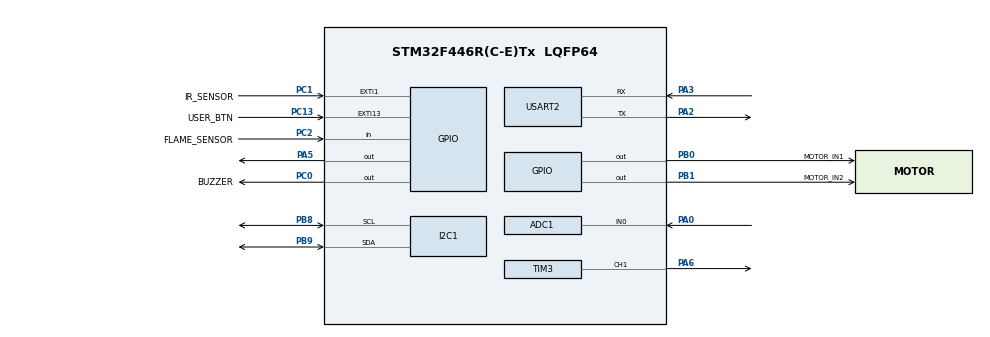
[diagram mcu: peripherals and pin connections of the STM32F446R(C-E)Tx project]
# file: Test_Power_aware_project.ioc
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ADC1.Channel-0\#ChannelRegularConversion=ADC_CHANNEL_0
ADC1.NbrOfConversionFlag=1
ADC1.Rank-0\#ChannelRegularConversion=1
ADC1.SamplingTime-0\#ChannelRegularConversion=ADC_SAMPLETIME_3CYCLES
ADC1.master=1
FREERTOS.Tasks01=defaultTask,24,128,StartDefaultTask,Default,NULL,Dynamic,NULL,NULL
FREERTOS.configUSE_NEWLIB_REENTRANT=1
Mcu.Family=STM32F4
Mcu.Name=STM32F446R(C-E)Tx
Mcu.Package=LQFP64
NVIC.EXTI15_10_IRQn=true\:5\:0\:false\:false\:true\:true\:true\:true\:true
NVIC.EXTI1_IRQn=true\:5\:0\:false\:false\:true\:true\:true\:true\:true
NVIC.PriorityGroup=NVIC_PRIORITYGROUP_4
NVIC.TIM1_UP_TIM10_IRQn=true\:15\:0\:false\:false\:true\:false\:false\:true\:true
NVIC.TimeBase=TIM1_UP_TIM10_IRQn
NVIC.TimeBaseIP=TIM10
PA0-WKUP.Signal=ADCx_IN0
PA13.Mode=Serial_Wire
PA13.Signal=SYS_JTMS-SWDIO
PA14.Mode=Serial_Wire
PA14.Signal=SYS_JTCK-SWCLK
PA2.Mode=Asynchronous
PA2.Signal=USART2_TX
PA3.Mode=Asynchronous
PA3.Signal=USART2_RX
PA5.Signal=GPIO_Output
PA6.Signal=S_TIM3_CH1
PB0.GPIO_Label=MOTOR_IN1
PB0.Signal=GPIO_Output
PB1.GPIO_Label=MOTOR_IN2
PB1.Signal=GPIO_Output
PB8.Mode=I2C
PB8.Signal=I2C1_SCL
PB9.Mode=I2C
PB9.Signal=I2C1_SDA
PC0.GPIO_Label=BUZZER
PC0.Signal=GPIO_Output
PC1.GPIO_Label=IR_SENSOR
PC1.GPIO_PuPd=GPIO_PULLUP
PC1.Signal=GPXTI1
PC13.GPIO_Label=USER_BTN
PC13.Signal=GPXTI13
PC2.GPIO_Label=FLAME_SENSOR
PC2.GPIO_PuPd=GPIO_PULLUP
PC2.Signal=GPIO_Input
ProjectManager.HeapSize=0x200
ProjectManager.StackSize=0x400
ProjectManager.TargetToolchain=STM32CubeIDE
RCC.CortexFreq_Value=16000000
RCC.USBFreq_Value=96000000
RCC.VCOOutputFreq_Value=192000000
SH.ADCx_IN0.0=ADC1_IN0,IN0
SH.S_TIM3_CH1.0=TIM3_CH1,PWM Generation1 CH1
TIM3.AutoReloadPreload=TIM_AUTORELOAD_PRELOAD_ENABLE
TIM3.Channel-PWM\ Generation1\ CH1=TIM_CHANNEL_1
TIM3.Period=99
TIM3.Prescaler=83
USART2.VirtualMode=VM_ASYNC
VP_FREERTOS_VS_CMSIS_V2.Mode=CMSIS_V2
VP_SYS_VS_tim10.Mode=TIM10
VP_TIM3_VS_ClockSourceINT.Mode=Internal
board=custom

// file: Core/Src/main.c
/* USER CODE BEGIN Header */
/**
  ******************************************************************************
  * @file           : main.c
  * @brief          : Power-Aware Motor Safety Controller — FreeRTOS
  *                   Capstone-2 Assignment | STM32F446RE
  ******************************************************************************
  */
/* USER CODE END Header */
#include "main.h"
#include "cmsis_os.h"

/* USER CODE BEGIN Includes */
#include "system_config.h"
/* USER CODE END Includes */

ADC_HandleTypeDef hadc1;

I2C_HandleTypeDef hi2c1;

TIM_HandleTypeDef htim3;

UART_HandleTypeDef huart2;

/* Definitions for defaultTask */
osThreadId_t defaultTaskHandle;
const osThreadAttr_t defaultTask_attributes = {
  .name = "defaultTask",
  .stack_size = 128 * 4,
  .priority = (osPriority_t) osPriorityNormal,
};

void SystemClock_Config(void);
static void MX_GPIO_Init(void);
static void MX_ADC1_Init(void);
static void MX_I2C1_Init(void);
static void MX_TIM3_Init(void);
static void MX_USART2_UART_Init(void);
void StartDefaultTask(void *argument);

/* USER CODE BEGIN PFP */
extern void MX_FREERTOS_Init(void);
/* USER CODE END PFP */

int main(void)
{

  /* MCU Configuration--------------------------------------------------------*/

  /* Reset of all peripherals, Initializes the Flash interface and the Systick. */
  HAL_Init();

  /* Configure the system clock */
  SystemClock_Config();

  /* Initialize all configured peripherals */
  MX_GPIO_Init();
  MX_ADC1_Init();
  MX_I2C1_Init();
  MX_TIM3_Init();
  MX_USART2_UART_Init();
  /* USER CODE BEGIN 2 */

  /* All initialization is now handled by RTOS tasks:
   *   - Motor init      → MotorControlTask
   *   - INA219 init     → PowerMonitorTask
   *   - OLED init       → DisplayTask
   *   - Safety init     → SafetySupervisorTask
   *   - Power mgr init  → PowerManagerTask
   *   - Temp IIR seed   → TemperatureTask
   */

  /* USER CODE END 2 */

  /* Init scheduler */
  osKernelInitialize();

  /* Create the thread(s) */
  /* creation of defaultTask */
  defaultTaskHandle = osThreadNew(StartDefaultTask, NULL, &defaultTask_attributes);

  /* USER CODE BEGIN RTOS_THREADS */
  /* Initialize our 7 RTOS tasks + mutex */
  MX_FREERTOS_Init();
  /* USER CODE END RTOS_THREADS */

  /* Start scheduler */
  osKernelStart();

  /* We should never get here as control is now taken by the scheduler */

  /* Infinite loop */
  while (1)
  {

    /* USER CODE BEGIN 3 */
    /* Never reaches here — RTOS scheduler is running */
  }
  /* USER CODE END 3 */
}

void SystemClock_Config(void)
{
  RCC_OscInitTypeDef RCC_OscInitStruct = {0};
  RCC_ClkInitTypeDef RCC_ClkInitStruct = {0};

  /** Configure the main internal regulator output voltage
  */
  __HAL_RCC_PWR_CLK_ENABLE();
  __HAL_PWR_VOLTAGESCALING_CONFIG(PWR_REGULATOR_VOLTAGE_SCALE3);

  /** Initializes the RCC Oscillators according to the specified parameters
  * in the RCC_OscInitTypeDef structure.
  */
  RCC_OscInitStruct.OscillatorType = RCC_OSCILLATORTYPE_HSI;
  RCC_OscInitStruct.HSIState = RCC_HSI_ON;
  RCC_OscInitStruct.HSICalibrationValue = RCC_HSICALIBRATION_DEFAULT;
  RCC_OscInitStruct.PLL.PLLState = RCC_PLL_NONE;
  if (HAL_RCC_OscConfig(&RCC_OscInitStruct) != HAL_OK)
  {
    Error_Handler();
  }

  /** Initializes the CPU, AHB and APB buses clocks
  */
  RCC_ClkInitStruct.ClockType = RCC_CLOCKTYPE_HCLK|RCC_CLOCKTYPE_SYSCLK
                              |RCC_CLOCKTYPE_PCLK1|RCC_CLOCKTYPE_PCLK2;
  RCC_ClkInitStruct.SYSCLKSource = RCC_SYSCLKSOURCE_HSI;
  RCC_ClkInitStruct.AHBCLKDivider = RCC_SYSCLK_DIV1;
  RCC_ClkInitStruct.APB1CLKDivider = RCC_HCLK_DIV1;
  RCC_ClkInitStruct.APB2CLKDivider = RCC_HCLK_DIV1;

  if (HAL_RCC_ClockConfig(&RCC_ClkInitStruct, FLASH_LATENCY_0) != HAL_OK)
  {
    Error_Handler();
  }
}

static void MX_ADC1_Init(void)
{

  ADC_ChannelConfTypeDef sConfig = {0};

  /** Configure the global features of the ADC (Clock, Resolution, Data Alignment and number of conversion)
  */
  hadc1.Instance = ADC1;
  hadc1.Init.ClockPrescaler = ADC_CLOCK_SYNC_PCLK_DIV2;
  hadc1.Init.Resolution = ADC_RESOLUTION_12B;
  hadc1.Init.ScanConvMode = DISABLE;
  hadc1.Init.ContinuousConvMode = DISABLE;
  hadc1.Init.DiscontinuousConvMode = DISABLE;
  hadc1.Init.ExternalTrigConvEdge = ADC_EXTERNALTRIGCONVEDGE_NONE;
  hadc1.Init.ExternalTrigConv = ADC_SOFTWARE_START;
  hadc1.Init.DataAlign = ADC_DATAALIGN_RIGHT;
  hadc1.Init.NbrOfConversion = 1;
  hadc1.Init.DMAContinuousRequests = DISABLE;
  hadc1.Init.EOCSelection = ADC_EOC_SINGLE_CONV;
  if (HAL_ADC_Init(&hadc1) != HAL_OK)
  {
    Error_Handler();
  }

  /** Configure for the selected ADC regular channel its corresponding rank in the sequencer and its sample time.
  */
  sConfig.Channel = ADC_CHANNEL_0;
  sConfig.Rank = 1;
  sConfig.SamplingTime = ADC_SAMPLETIME_3CYCLES;
  if (HAL_ADC_ConfigChannel(&hadc1, &sConfig) != HAL_OK)
  {
    Error_Handler();
  }

}

static void MX_I2C1_Init(void)
{

  hi2c1.Instance = I2C1;
  hi2c1.Init.ClockSpeed = 100000;
  hi2c1.Init.DutyCycle = I2C_DUTYCYCLE_2;
  hi2c1.Init.OwnAddress1 = 0;
  hi2c1.Init.AddressingMode = I2C_ADDRESSINGMODE_7BIT;
  hi2c1.Init.DualAddressMode = I2C_DUALADDRESS_DISABLE;
  hi2c1.Init.OwnAddress2 = 0;
  hi2c1.Init.GeneralCallMode = I2C_GENERALCALL_DISABLE;
  hi2c1.Init.NoStretchMode = I2C_NOSTRETCH_DISABLE;
  if (HAL_I2C_Init(&hi2c1) != HAL_OK)
  {
    Error_Handler();
  }

}

static void MX_TIM3_Init(void)
{

  TIM_ClockConfigTypeDef sClockSourceConfig = {0};
  TIM_MasterConfigTypeDef sMasterConfig = {0};
  TIM_OC_InitTypeDef sConfigOC = {0};

  htim3.Instance = TIM3;
  htim3.Init.Prescaler = 83;
  htim3.Init.CounterMode = TIM_COUNTERMODE_UP;
  htim3.Init.Period = 99;
  htim3.Init.ClockDivision = TIM_CLOCKDIVISION_DIV1;
  htim3.Init.AutoReloadPreload = TIM_AUTORELOAD_PRELOAD_ENABLE;
  if (HAL_TIM_Base_Init(&htim3) != HAL_OK)
  {
    Error_Handler();
  }
  sClockSourceConfig.ClockSource = TIM_CLOCKSOURCE_INTERNAL;
  if (HAL_TIM_ConfigClockSource(&htim3, &sClockSourceConfig) != HAL_OK)
  {
    Error_Handler();
  }
  if (HAL_TIM_PWM_Init(&htim3) != HAL_OK)
  {
    Error_Handler();
  }
  sMasterConfig.MasterOutputTrigger = TIM_TRGO_RESET;
  sMasterConfig.MasterSlaveMode = TIM_MASTERSLAVEMODE_DISABLE;
  if (HAL_TIMEx_MasterConfigSynchronization(&htim3, &sMasterConfig) != HAL_OK)
  {
    Error_Handler();
  }
  sConfigOC.OCMode = TIM_OCMODE_PWM1;
  sConfigOC.Pulse = 0;
  sConfigOC.OCPolarity = TIM_OCPOLARITY_HIGH;
  sConfigOC.OCFastMode = TIM_OCFAST_DISABLE;
  if (HAL_TIM_PWM_ConfigChannel(&htim3, &sConfigOC, TIM_CHANNEL_1) != HAL_OK)
  {
    Error_Handler();
  }
  HAL_TIM_MspPostInit(&htim3);

}

static void MX_USART2_UART_Init(void)
{

  huart2.Instance = USART2;
  huart2.Init.BaudRate = 115200;
  huart2.Init.WordLength = UART_WORDLENGTH_8B;
  huart2.Init.StopBits = UART_STOPBITS_1;
  huart2.Init.Parity = UART_PARITY_NONE;
  huart2.Init.Mode = UART_MODE_TX_RX;
  huart2.Init.HwFlowCtl = UART_HWCONTROL_NONE;
  huart2.Init.OverSampling = UART_OVERSAMPLING_16;
  if (HAL_UART_Init(&huart2) != HAL_OK)
  {
    Error_Handler();
  }

}

static void MX_GPIO_Init(void)
{
  GPIO_InitTypeDef GPIO_InitStruct = {0};

  /* GPIO Ports Clock Enable */
  __HAL_RCC_GPIOC_CLK_ENABLE();
  __HAL_RCC_GPIOA_CLK_ENABLE();
  __HAL_RCC_GPIOB_CLK_ENABLE();

  /*Configure GPIO pin Output Level */
  HAL_GPIO_WritePin(BUZZER_GPIO_Port, BUZZER_Pin, GPIO_PIN_RESET);

  /*Configure GPIO pin Output Level */
  HAL_GPIO_WritePin(GPIOA, GPIO_PIN_5, GPIO_PIN_RESET);

  /*Configure GPIO pin Output Level */
  HAL_GPIO_WritePin(GPIOB, MOTOR_IN1_Pin|MOTOR_IN2_Pin, GPIO_PIN_RESET);

  /*Configure GPIO pin : USER_BTN_Pin */
  GPIO_InitStruct.Pin = USER_BTN_Pin;
  GPIO_InitStruct.Mode = GPIO_MODE_IT_RISING;
  GPIO_InitStruct.Pull = GPIO_NOPULL;
  HAL_GPIO_Init(USER_BTN_GPIO_Port, &GPIO_InitStruct);

  /*Configure GPIO pin : BUZZER_Pin */
  GPIO_InitStruct.Pin = BUZZER_Pin;
  GPIO_InitStruct.Mode = GPIO_MODE_OUTPUT_PP;
  GPIO_InitStruct.Pull = GPIO_NOPULL;
  GPIO_InitStruct.Speed = GPIO_SPEED_FREQ_LOW;
  HAL_GPIO_Init(BUZZER_GPIO_Port, &GPIO_InitStruct);

  /*Configure GPIO pin : IR_SENSOR_Pin */
  GPIO_InitStruct.Pin = IR_SENSOR_Pin;
  GPIO_InitStruct.Mode = GPIO_MODE_IT_RISING;
  GPIO_InitStruct.Pull = GPIO_PULLUP;
  HAL_GPIO_Init(IR_SENSOR_GPIO_Port, &GPIO_InitStruct);

  /*Configure GPIO pin : FLAME_SENSOR_Pin */
  GPIO_InitStruct.Pin = FLAME_SENSOR_Pin;
  GPIO_InitStruct.Mode = GPIO_MODE_INPUT;
  GPIO_InitStruct.Pull = GPIO_PULLUP;
  HAL_GPIO_Init(FLAME_SENSOR_GPIO_Port, &GPIO_InitStruct);

  /*Configure GPIO pin : PA5 */
  GPIO_InitStruct.Pin = GPIO_PIN_5;
  GPIO_InitStruct.Mode = GPIO_MODE_OUTPUT_PP;
  GPIO_InitStruct.Pull = GPIO_NOPULL;
  GPIO_InitStruct.Speed = GPIO_SPEED_FREQ_LOW;
  HAL_GPIO_Init(GPIOA, &GPIO_InitStruct);

  /*Configure GPIO pins : MOTOR_IN1_Pin MOTOR_IN2_Pin */
  GPIO_InitStruct.Pin = MOTOR_IN1_Pin|MOTOR_IN2_Pin;
  GPIO_InitStruct.Mode = GPIO_MODE_OUTPUT_PP;
  GPIO_InitStruct.Pull = GPIO_NOPULL;
  GPIO_InitStruct.Speed = GPIO_SPEED_FREQ_LOW;
  HAL_GPIO_Init(GPIOB, &GPIO_InitStruct);

  /* EXTI interrupt init*/
  HAL_NVIC_SetPriority(EXTI1_IRQn, 5, 0);
  HAL_NVIC_EnableIRQ(EXTI1_IRQn);

  HAL_NVIC_SetPriority(EXTI15_10_IRQn, 5, 0);
  HAL_NVIC_EnableIRQ(EXTI15_10_IRQn);

}

/* USER CODE BEGIN 4 */

/* EXTI Callback — Wake-up from sensors and button */

/* USER CODE END 4 */

/* USER CODE BEGIN Header_StartDefaultTask */
/**
  * @brief  Function implementing the defaultTask thread.
  *         This is CubeMX's auto-generated default task.
  *         We keep it but it does nothing — our tasks are in freertos.c
  */
/* USER CODE END Header_StartDefaultTask */
void StartDefaultTask(void *argument)
{
  /* USER CODE BEGIN 5 */
  for(;;)
  {
    osDelay(1000);
  }
  /* USER CODE END 5 */
}

void HAL_TIM_PeriodElapsedCallback(TIM_HandleTypeDef *htim)
{
  if (htim->Instance == TIM10)
  {
    HAL_IncTick();
  }
}

void Error_Handler(void)
{
  __disable_irq();
  while (1)
  {
  }
}

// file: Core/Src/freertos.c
/* USER CODE BEGIN Header */
/**
  ******************************************************************************
  * File Name          : freertos.c
  * Description        : FreeRTOS Tasks — Power-Aware Motor Safety Controller
  ******************************************************************************
  */
/* USER CODE END Header */

#include "FreeRTOS.h"
#include "task.h"
#include "main.h"

/* USER CODE BEGIN Includes */
#include "system_config.h"
#include "temperature_lut.h"
#include "iir_filter.h"
#include "motor_control.h"
#include "safety_monitor.h"
#include "power_manager.h"
#include "power_monitor.h"
#include "ssd1306.h"
#include <stdio.h>
#include <string.h>
/* USER CODE END Includes */

/* USER CODE BEGIN Variables */

SystemData_t    g_sys;
osMutexId_t     g_sys_mutex;
osMutexId_t     g_i2c_mutex;

osThreadId_t motorTaskHandle;
osThreadId_t powerMonTaskHandle;
osThreadId_t tempTaskHandle;
osThreadId_t safetyTaskHandle;
osThreadId_t displayTaskHandle;
osThreadId_t loggingTaskHandle;
osThreadId_t powerMgrTaskHandle;

static char log_buf[256];
static bool safety_tripped = false;
static uint8_t motor_speed_mode = 0;

/* USER CODE END Variables */

/* USER CODE BEGIN FunctionPrototypes */

extern void i2c_bus_reset(void);

void TemperatureTask(void *argument);
void PowerMonitorTask(void *argument);
void MotorControlTask(void *argument);
void SafetySupervisorTask(void *argument);
void DisplayTask(void *argument);
void LoggingTask(void *argument);
void PowerManagerTask(void *argument);

/* USER CODE END FunctionPrototypes */

/* USER CODE BEGIN Application */

void TemperatureTask(void *argument)
{
    uint16_t adc = temp_adc_read_averaged();
    float temp = temp_lut_interpolate(adc);
    iir_filter_init(temp);

    for (;;)
    {
        adc = temp_adc_read_averaged();
        float lut_temp = temp_lut_interpolate(adc);
        float filtered = iir_filter_update(lut_temp);

        osMutexAcquire(g_sys_mutex, osWaitForever);
        g_sys.raw_adc = adc;
        g_sys.lut_temperature = lut_temp;
        g_sys.filtered_temperature = filtered;
        osMutexRelease(g_sys_mutex);

        osDelay(500);
    }
}

void PowerMonitorTask(void *argument)
{
    osMutexAcquire(g_i2c_mutex, osWaitForever);
    ina219_init();
    osMutexRelease(g_i2c_mutex);

    for (;;)
    {
        osMutexAcquire(g_i2c_mutex, osWaitForever);
        float v = ina219_read_voltage();
        float i = ina219_read_current();
        float p = ina219_read_power();
        osMutexRelease(g_i2c_mutex);

        osMutexAcquire(g_sys_mutex, osWaitForever);
        g_sys.voltage_V  = v;
        g_sys.current_mA = i;
        g_sys.power_mW   = p;
        osMutexRelease(g_sys_mutex);

        if (i > 10.0f && i < 5000.0f) reset_activity();

        osDelay(500);
    }
}

void MotorControlTask(void *argument)
{
    motor_init();

    for (;;)
    {
        if (g_sys.motor_state != MOTOR_STATE_STOPPED)
            reset_activity();

        osDelay(100);
    }
}

void SafetySupervisorTask(void *argument)
{
    safety_init();
    uint32_t notification;
    static uint32_t last_btn_tick = 0;

    for (;;)
    {
        if (xTaskNotifyWait(0x00, 0xFFFFFFFF, &notification, 0) == pdTRUE)
        {
            if (g_sys.system_mode == SYSTEM_MODE_POWER_SAVE)
            {
                power_manager_exit_sleep();
                osThreadResume(powerMgrTaskHandle);
            }

//            if (notification & USER_BTN_PIN_DEF)
//            {
//                uint32_t now = HAL_GetTick();
//                if (now - last_btn_tick > 500)
//                {
//                    last_btn_tick = now;
//                    if (g_sys.motor_state != MOTOR_STATE_STOPPED)
//                    {
//                        motor_stop();
//                    }
//                    else
//                    {
//                        safety_tripped = false;
//                        motor_forward();
//                        motor_set_speed(70);
//                    }
//                }
//            }
            if (notification & USER_BTN_PIN_DEF)
                        {
                            uint32_t now = HAL_GetTick();
                            if (now - last_btn_tick > 500)
                            {
                                last_btn_tick = now;
                                motor_speed_mode++;
                                if (motor_speed_mode > 3) motor_speed_mode = 0;

                                safety_tripped = false;

                                switch (motor_speed_mode)
                                {
                                    case 0:
                                        motor_stop();
                                        break;
                                    case 1:
                                        motor_forward();
                                        motor_set_speed(30);   /* LOW */
                                        break;
                                    case 2:
                                        motor_forward();
                                        motor_set_speed(60);   /* MEDIUM */
                                        break;
                                    case 3:
                                        motor_forward();
                                        motor_set_speed(100);  /* HIGH */
                                        break;
                                }
                            }
                        }
        }

        bool ir = safety_ir_detected();
        bool flame = safety_flame_detected();

        osMutexAcquire(g_sys_mutex, osWaitForever);
        g_sys.ir_detected    = ir;
        g_sys.flame_detected = flame;
        osMutexRelease(g_sys_mutex);

        /* Safety: use emergency stop then recover I2C */
        if (flame && !safety_tripped)
        {
            motor_emergency_stop();
            safety_buzzer_alarm();
            safety_tripped = true;

            osMutexAcquire(g_i2c_mutex, osWaitForever);
            i2c_bus_reset();
            osMutexRelease(g_i2c_mutex);
        }
        else if (g_sys.current_mA >= CURRENT_CRITICAL_MA && g_sys.current_mA < 10000.0f && !safety_tripped)
        {
            motor_emergency_stop();
            safety_tripped = true;
            safety_buzzer_alarm();
            osMutexAcquire(g_i2c_mutex, osWaitForever);
            i2c_bus_reset();
            osMutexRelease(g_i2c_mutex);
        }

        if (!flame && safety_tripped && g_sys.current_mA < CURRENT_CRITICAL_MA)
        {
            safety_buzzer_off();
        }

        osDelay(100);
    }
}

void DisplayTask(void *argument)
{
    osMutexAcquire(g_i2c_mutex, osWaitForever);
    ssd1306_init(&hi2c1);
    osMutexRelease(g_i2c_mutex);

    char line[22];

    for (;;)
    {
        int temp_i = (int)(g_sys.filtered_temperature * 10);
        int curr_i = (int)(g_sys.current_mA);

        const char *mode_str = (g_sys.system_mode == SYSTEM_MODE_ACTIVE)
                               ? "ACTIVE" : "POWER SAVE";
        const char *motor_str = (g_sys.motor_state == MOTOR_STATE_RUNNING) ? "RUNNING" :
                                (g_sys.motor_state == MOTOR_STATE_REDUCED) ? "REDUCED" : "STOPPED";

        const char *safety_str;
        if (g_sys.flame_detected)
            safety_str = "CRITICAL";
        else if (g_sys.current_mA >= CURRENT_CRITICAL_MA && g_sys.current_mA < 10000.0f)
            safety_str = "CRITICAL";
        else
            safety_str = "NORMAL";

        ssd1306_clear();

        ssd1306_set_cursor(0, 0);
        sprintf(line, "Mode: %s", mode_str);
        ssd1306_write_string(line);

        ssd1306_set_cursor(0, 10);
        sprintf(line, "Motor: %s", motor_str);
        ssd1306_write_string(line);

        ssd1306_set_cursor(0, 20);
        sprintf(line, "Temp: %d.%d C", temp_i/10, (temp_i<0?-temp_i:temp_i)%10);
        ssd1306_write_string(line);

        ssd1306_set_cursor(0, 30);
        sprintf(line, "I: %d mA", curr_i);
        ssd1306_write_string(line);

        ssd1306_set_cursor(0, 40);
        sprintf(line, "IR:%s Flm:%s",
                g_sys.ir_detected ? "YES" : "no",
                g_sys.flame_detected ? "YES!" : "no");
        ssd1306_write_string(line);

        ssd1306_set_cursor(0, 52);
        sprintf(line, "Safety: %s", safety_str);
        ssd1306_write_string(line);

        osMutexAcquire(g_i2c_mutex, osWaitForever);
        ssd1306_update();
        osMutexRelease(g_i2c_mutex);

        osDelay(500);
    }
}

void LoggingTask(void *argument)
{
    for (;;)
    {
        int lut_i  = (int)(g_sys.lut_temperature * 10);
        int filt_i = (int)(g_sys.filtered_temperature * 10);

        sprintf(log_buf, "[LOG] ADC:%d LUT:%d.%dC Filt:%d.%dC V:%dV I:%dmA IR:%s FL:%s M:%s P:%s\r\n",
            (int)g_sys.raw_adc,
            lut_i/10, (lut_i<0?-lut_i:lut_i)%10,
            filt_i/10, (filt_i<0?-filt_i:filt_i)%10,
            (int)g_sys.voltage_V,
            (int)g_sys.current_mA,
            g_sys.ir_detected ? "YES" : "NO",
            g_sys.flame_detected ? "YES" : "NO",
            (g_sys.motor_state == MOTOR_STATE_RUNNING) ? "RUN" :
            (g_sys.motor_state == MOTOR_STATE_REDUCED) ? "RED" : "STP",
            (g_sys.system_mode == SYSTEM_MODE_ACTIVE) ? "ACTIVE" : "PWRSAVE");

        HAL_UART_Transmit(&huart2, (uint8_t *)log_buf, strlen(log_buf), 500);
        osDelay(1000);
    }
}

void PowerManagerTask(void *argument)
{
    power_manager_init();

    for (;;)
    {
        if (power_manager_should_sleep())
        {
            power_manager_enter_sleep();
            osThreadSuspend(powerMgrTaskHandle);
        }

        osDelay(1000);
    }
}

void HAL_GPIO_EXTI_Callback(uint16_t GPIO_Pin)
{
    if (GPIO_Pin == IR_PIN || GPIO_Pin == FLAME_PIN || GPIO_Pin == USER_BTN_PIN_DEF)
    {
        g_sys.last_activity_tick = HAL_GetTick();
        BaseType_t xWoken = pdFALSE;
        xTaskNotifyFromISR((TaskHandle_t)safetyTaskHandle,
                           (uint32_t)GPIO_Pin,
                           eSetBits, &xWoken);
        portYIELD_FROM_ISR(xWoken);
    }
}

void MX_FREERTOS_Init(void)
{
    memset(&g_sys, 0, sizeof(g_sys));
    g_sys.system_mode = SYSTEM_MODE_ACTIVE;
    g_sys.motor_state = MOTOR_STATE_STOPPED;
    g_sys.safety_status = SAFETY_NORMAL;
    g_sys.last_activity_tick = HAL_GetTick();

    const osMutexAttr_t sys_m = { .name = "SysMutex" };
    g_sys_mutex = osMutexNew(&sys_m);

    const osMutexAttr_t i2c_m = { .name = "I2CMutex" };
    g_i2c_mutex = osMutexNew(&i2c_m);

    const osThreadAttr_t safety_a = { .name = "Safety", .stack_size = 512, .priority = osPriorityHigh };
    safetyTaskHandle = osThreadNew(SafetySupervisorTask, NULL, &safety_a);

    const osThreadAttr_t temp_a = { .name = "Temp", .stack_size = 512, .priority = osPriorityAboveNormal };
    tempTaskHandle = osThreadNew(TemperatureTask, NULL, &temp_a);

    const osThreadAttr_t pmon_a = { .name = "PwrMon", .stack_size = 512, .priority = osPriorityNormal };
    powerMonTaskHandle = osThreadNew(PowerMonitorTask, NULL, &pmon_a);

    const osThreadAttr_t motor_a = { .name = "Motor", .stack_size = 512, .priority = osPriorityNormal };
    motorTaskHandle = osThreadNew(MotorControlTask, NULL, &motor_a);

    const osThreadAttr_t pmgr_a = { .name = "PwrMgr", .stack_size = 512, .priority = osPriorityBelowNormal };
    powerMgrTaskHandle = osThreadNew(PowerManagerTask, NULL, &pmgr_a);

    const osThreadAttr_t disp_a = { .name = "Display", .stack_size = 512, .priority = osPriorityLow };
    displayTaskHandle = osThreadNew(DisplayTask, NULL, &disp_a);

    const osThreadAttr_t log_a = { .name = "Logging", .stack_size = 2048, .priority = osPriorityLow };
    loggingTaskHandle = osThreadNew(LoggingTask, NULL, &log_a);
}

/* USER CODE END Application */
